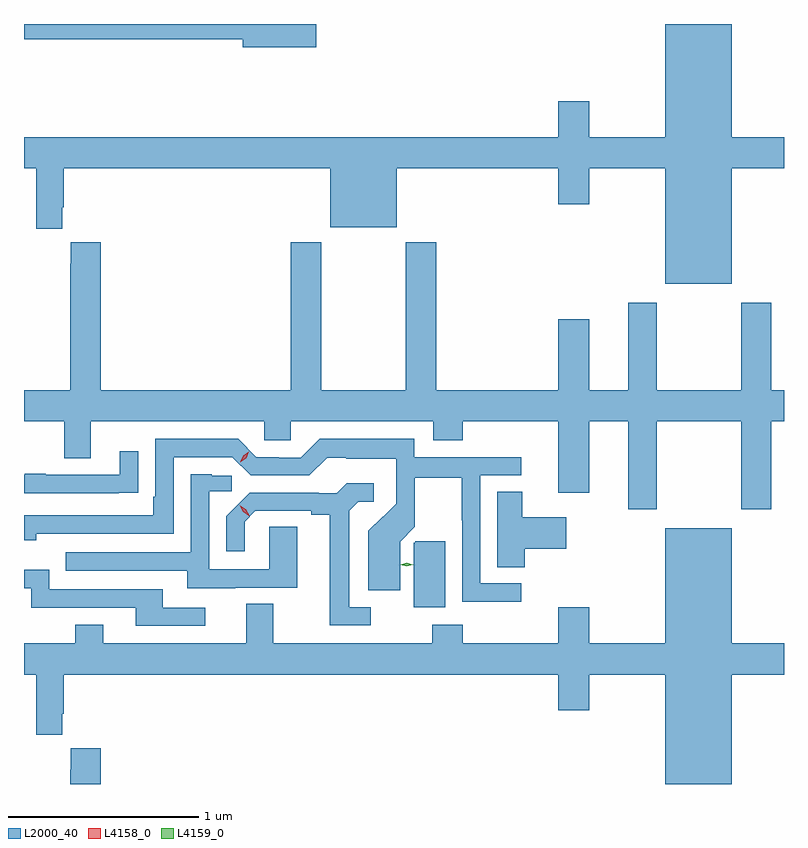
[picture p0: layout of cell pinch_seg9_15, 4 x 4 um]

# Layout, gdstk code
import gdstk
lib = gdstk.Library(unit=1e-6, precision=1e-09)
def P(c, l, *ps):  # polygons
    for p in ps: c.add(gdstk.Polygon(p, *l))
L2000_40 = (2000, 40)
L4158_0 = (4158, 0)
L4159_0 = (4159, 0)

pinch_seg9_15 = lib.new_cell('pinch_seg9_15')
P(pinch_seg9_15, L2000_40, [(1148.716,1208.408),(1148.99,1208.408),(1148.99,1208.572),(1148.716,1208.572),(1148.716,1209.168),(1148.366,1209.168),(1148.366,1208.572),(1147.966,1208.572),(1147.966,1208.761),(1147.802,1208.761),(1147.802,1208.572),(1144.99,1208.572),(1144.99,1208.408),(1145.054,1208.408),(1145.054,1208.091),(1145.191,1208.091),(1145.191,1208.203),(1145.198,1208.203),(1145.198,1208.408),(1146.602,1208.408),(1146.602,1208.099),(1146.952,1208.099),(1146.952,1208.408),(1147.802,1208.408),(1147.802,1208.22),(1147.966,1208.22),(1147.966,1208.408),(1148.366,1208.408),(1148.366,1207.802),(1148.716,1207.802)],
  [(1146.529,1209.168),(1144.99,1209.168),(1144.99,1209.088),(1146.14,1209.088),(1146.14,1209.046),(1146.529,1209.046)],
  [(1148.319,1207.076),(1148.764,1207.076),(1148.764,1206.615),(1148.924,1206.615),(1148.924,1207.076),(1148.99,1207.076),(1148.99,1207.24),(1148.924,1207.24),(1148.924,1207.702),(1148.764,1207.702),(1148.764,1207.24),(1148.319,1207.24),(1148.319,1207.702),(1148.171,1207.702),(1148.171,1207.24),(1147.966,1207.24),(1147.966,1207.615),(1147.802,1207.615),(1147.802,1207.24),(1147.16,1207.24),(1147.16,1208.02),(1147,1208.02),(1147,1207.24),(1146.555,1207.24),(1146.555,1208.02),(1146.395,1208.02),(1146.395,1207.24),(1145.393,1207.24),(1145.393,1208.02),(1145.237,1208.02),(1145.237,1207.907),(1145.233,1207.907),(1145.233,1207.24),(1144.99,1207.24),(1144.99,1207.076),(1145.201,1207.076),(1145.201,1206.882),(1145.341,1206.882),(1145.341,1207.076),(1146.255,1207.076),(1146.255,1206.978),(1146.393,1206.978),(1146.393,1207.076),(1147.145,1207.076),(1147.145,1206.977),(1147.298,1206.977),(1147.298,1207.076),(1147.802,1207.076),(1147.802,1206.702),(1147.966,1206.702),(1147.966,1207.076),(1148.171,1207.076),(1148.171,1206.615),(1148.319,1206.615)],
  [(1147.606,1206.225),(1147.392,1206.225),(1147.392,1206.792),(1147.606,1206.792),(1147.606,1206.888),(1147.044,1206.888),(1147.044,1206.985),(1146.547,1206.985),(1146.447,1206.885),(1146.332,1206.885),(1146.332,1206.888),(1146.213,1206.888),(1146.117,1206.984),(1145.682,1206.984),(1145.682,1206.679),(1145.669,1206.679),(1145.669,1206.582),(1144.99,1206.582),(1144.99,1206.452),(1145.054,1206.452),(1145.054,1206.486),(1145.778,1206.486),(1145.778,1206.888),(1146.087,1206.888),(1146.183,1206.792),(1146.492,1206.792),(1146.585,1206.885),(1146.685,1206.885),(1146.685,1206.881),(1146.948,1206.881),(1146.948,1206.642),(1146.879,1206.573),(1146.877,1206.575),(1146.803,1206.501),(1146.803,1206.188),(1146.97,1206.188),(1146.97,1206.444),(1147.047,1206.521),(1147.047,1206.78),(1147.294,1206.78),(1147.294,1206.556),(1147.296,1206.556),(1147.296,1206.127),(1147.606,1206.127)],
  [(1145.489,1206.7),(1145.591,1206.7),(1145.591,1206.919),(1145.495,1206.919),(1145.495,1206.795),(1145.105,1206.795),(1145.105,1206.8),(1144.993,1206.8),(1144.993,1206.795),(1144.99,1206.795),(1144.99,1206.699),(1145.489,1206.699)],
  [(1146.103,1206.201),(1146.427,1206.201),(1146.427,1206.521),(1146.282,1206.521),(1146.282,1206.297),(1145.964,1206.297),(1145.964,1206.71),(1146.084,1206.71),(1146.084,1206.791),(1145.978,1206.791),(1145.978,1206.798),(1145.868,1206.798),(1145.868,1206.387),(1145.209,1206.387),(1145.209,1206.291),(1145.849,1206.291),(1145.849,1206.197),(1146.103,1206.197)],
  [(1146.814,1206.099),(1146.703,1206.099),(1146.703,1206.607),(1146.75,1206.654),(1146.832,1206.654),(1146.832,1206.751),(1146.688,1206.751),(1146.636,1206.699),(1146.542,1206.699),(1146.542,1206.702),(1146.178,1206.702),(1146.054,1206.578),(1146.054,1206.393),(1146.151,1206.393),(1146.151,1206.549),(1146.208,1206.606),(1146.503,1206.606),(1146.503,1206.584),(1146.599,1206.584),(1146.599,1206.003),(1146.814,1206.003)],
  [(1147.625,1206.406),(1147.843,1206.406),(1147.843,1206.571),(1147.612,1206.571),(1147.612,1206.707),(1147.481,1206.707),(1147.481,1206.31),(1147.625,1206.31)],
  [(1148.716,1205.744),(1148.99,1205.744),(1148.99,1205.908),(1148.716,1205.908),(1148.716,1206.514),(1148.366,1206.514),(1148.366,1205.908),(1147.966,1205.908),(1147.966,1206.097),(1147.802,1206.097),(1147.802,1205.908),(1147.298,1205.908),(1147.298,1206.007),(1147.138,1206.007),(1147.138,1205.908),(1146.301,1205.908),(1146.301,1206.116),(1146.161,1206.116),(1146.161,1205.908),(1145.407,1205.908),(1145.407,1206.007),(1145.26,1206.007),(1145.26,1205.908),(1144.99,1205.908),(1144.99,1205.744),(1145.054,1205.744),(1145.054,1205.427),(1145.191,1205.427),(1145.191,1205.539),(1145.198,1205.539),(1145.198,1205.744),(1147.802,1205.744),(1147.802,1205.556),(1147.966,1205.556),(1147.966,1205.744),(1148.366,1205.744),(1148.366,1205.168),(1148.716,1205.168)],
  [(1147.207,1206.446),(1147.05,1206.446),(1147.05,1206.438),(1147.04,1206.438),(1147.04,1206.098),(1147.207,1206.098)],
  [(1145.944,1206.096),(1145.719,1206.096),(1145.719,1206.192),(1145.124,1206.192),(1145.124,1206.295),(1144.99,1206.295),(1144.99,1206.198),(1145.028,1206.198),(1145.028,1206.096),(1145.579,1206.096),(1145.579,1206),(1145.944,1206)],
  [(1145.393,1205.356),(1145.237,1205.356),(1145.237,1205.243),(1145.233,1205.243),(1145.233,1205.168),(1145.393,1205.168)])
P(pinch_seg9_15, L4158_0, [(1146.174,1206.581),(1146.143,1206.601),(1146.126,1206.634),(1146.126,1206.634),(1146.126,1206.634),(1146.158,1206.614),(1146.175,1206.582),(1146.175,1206.581)],
  [(1146.128,1206.862),(1146.128,1206.862),(1146.143,1206.895),(1146.173,1206.917),(1146.173,1206.917),(1146.173,1206.916),(1146.159,1206.883),(1146.129,1206.862)])
P(pinch_seg9_15, L4159_0, [(1147.004,1206.313),(1146.971,1206.323),(1146.971,1206.323),(1146.971,1206.323),(1147.004,1206.333),(1147.037,1206.323),(1147.038,1206.323),(1147.037,1206.323)])

lib.write_gds('pinch_seg9_15.gds')
